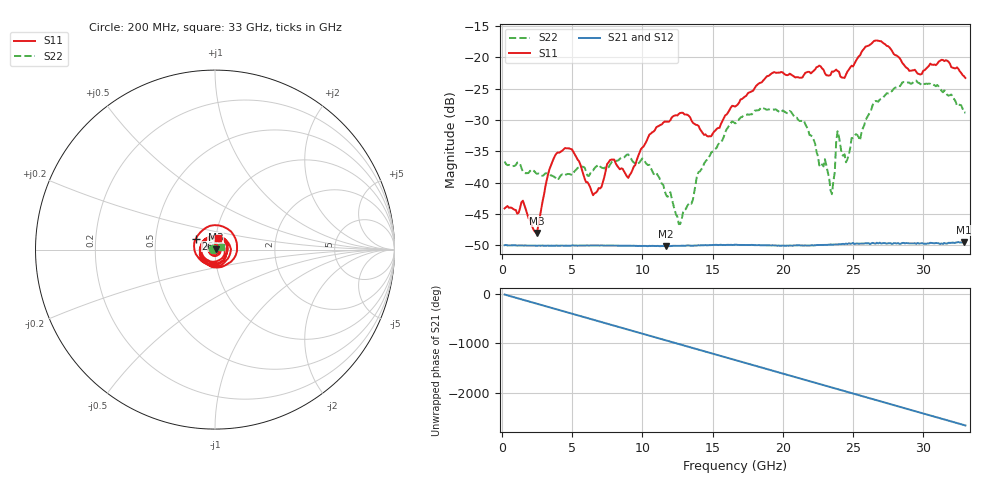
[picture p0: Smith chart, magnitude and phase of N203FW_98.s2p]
# GHZ S RI R 50
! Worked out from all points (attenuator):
!   329 points, 200 MHz to 33 GHz, reference 50 ohm
!   highest |S21| = -49.45 dB at 32.9 GHz (marker M1); lowest = -50.1 dB at 11.7 GHz (marker M2)
!   lowest |S11| = -48.0 dB at 2.5 GHz (marker M3), VSWR 1.01, Z = 50.3 + j0.228 ohm
!   |S11| at or under -10 dB: start of sweep to end of sweep
!   |S22| runs from -46.6 to -23.7 dB; largest |S21 - S12| = 8.8e-05
!   S11 on the Smith chart (normalised r, x): 200 MHz: 1.01, +0.00; 26 GHz: 0.80, +0.10; 33 GHz: 1.02, +0.14
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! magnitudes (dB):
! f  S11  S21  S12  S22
! 200 MHz  -44.1  -50.0  -49.9  -36.6
! 1.5 GHz  -42.9  -50.0  -50.0  -38.2
! 2.5 GHz  -48.0  -50.1  -50.0  -38.6
! 3.9 GHz  -35.3  -50.0  -50.0  -39.4
! 5.7 GHz  -37.9  -50.0  -50.0  -37.4
! 6.5 GHz  -42.0  -50.0  -50.0  -38.0
! 7.7 GHz  -36.4  -50.0  -50.0  -37.1
! 9 GHz  -39.2  -50.1  -50.1  -35.5
! 11.2 GHz  -30.9  -50.1  -50.1  -39.1
! 11.7 GHz  -30.2  -50.1  -50.1  -42.0
! 12.7 GHz  -28.9  -50.1  -50.1  -46.6
! 14.9 GHz  -32.6  -50.0  -49.9  -35.2
! 16.6 GHz  -27.8  -49.9  -49.9  -30.5
! 20.5 GHz  -22.6  -50.0  -50.0  -28.5
! 22.1 GHz  -22.3  -50.0  -50.0  -32.6
! 23.5 GHz  -22.2  -49.9  -49.8  -41.8
! 23.9 GHz  -22.2  -49.8  -49.9  -31.8
! 24.5 GHz  -22.7  -49.7  -49.7  -36.7
! 26 GHz  -18.2  -49.7  -49.6  -29.6
! 27.6 GHz  -18.4  -49.6  -49.6  -25.8
! 32.9 GHz  -23.0  -49.5  -49.4  -28.8
! 33 GHz  -23.3  -49.5  -49.5  -28.8
